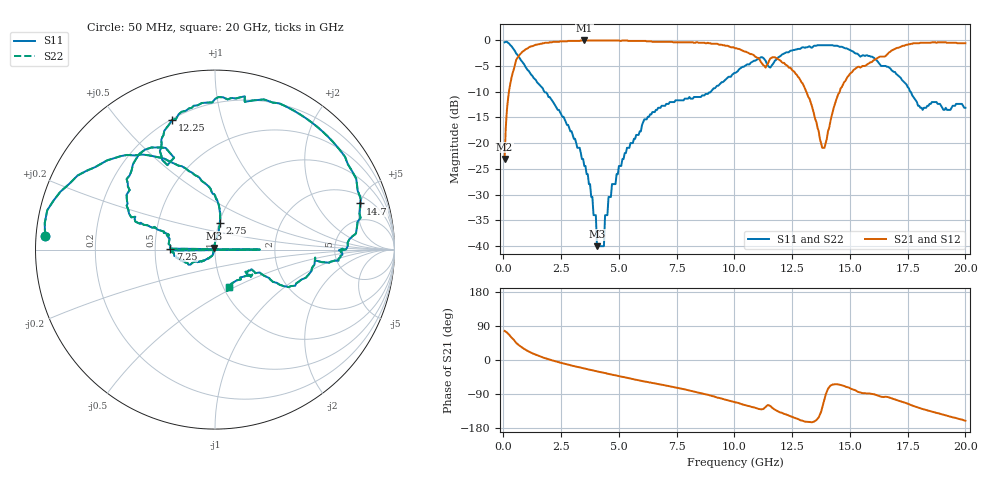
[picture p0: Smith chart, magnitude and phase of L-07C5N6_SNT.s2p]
#	mhz	s	ma	r	50
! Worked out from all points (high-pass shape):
!   400 points, 50 MHz to 20 GHz, reference 50 ohm
!   highest |S21| = -0.09 dB at 3.5 GHz (marker M1); lowest = -23.1 dB at 50 MHz (marker M2)
!   |S21| within 3 dB of the highest: 668.4 MHz to 10.87 GHz (10.2 GHz wide, 177 % of centre); 16.55 GHz to end of sweep
!   lowest |S11| = -40.0 dB at 4.05 GHz (marker M3), VSWR 1.02, Z = 49.5 + j0.839 ohm
!   |S11| at or under -10 dB: 1.769 GHz to 8.981 GHz (7.213 GHz wide, 134 % of centre); 17.62 GHz to end of sweep
!   |S22| runs from -40.0 to -0.4 dB; largest |S21 - S12| = 0
!   S11 on the Smith chart (normalised r, x): 50 MHz: 0.03, +0.04; 2.75 GHz: 1.01, +0.30; 7.25 GHz: 0.60, +0.01; 12.25 GHz: 0.21, +0.70; 14.7 GHz: 2.72, +5.04; 20 GHz: 1.06, -0.46
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50  0.95 175.4  0.07 76.7  0.07 76.7  0.95 175.4
200  0.94 163.1  0.27 69.7  0.27 69.7  0.94 163.1
550  0.74 135.3  0.64 45.1  0.64 45.1  0.74 135.3
2750  0.15 79.9  0.97 -11.4  0.97 -11.4  0.15 79.9
3400  0.07 80.3  0.99 -21.2  0.99 -21.2  0.07 80.3
3500  0.06 81.9  0.99 -22.5  0.99 -22.5  0.06 81.9
4050  0.01 122.0  0.99 -30.0  0.99 -30.0  0.01 122.0
4350  0.01 -127.3  0.99 -33.7  0.99 -33.7  0.01 -127.3
4400  0.02 -121.1  0.99 -34.4  0.99 -34.4  0.02 -121.1
5000  0.06 -125.1  0.99 -42.6  0.99 -42.6  0.06 -125.1
6700  0.22 -168.0  0.96 -63.5  0.96 -63.5  0.22 -168.0
7150  0.24 -178.8  0.96 -68.6  0.96 -68.6  0.24 -178.8
7200  0.25 0.0  0.96 -69.3  0.96 -69.3  0.25 0.0
7250  0.25 178.8  0.96 -70.0  0.96 -70.0  0.25 178.8
10050  0.48 157.6  0.83 -112.0  0.83 -112.0  0.48 157.6
12250  0.76 108.4  0.57 -143.9  0.57 -143.9  0.76 108.4
13350  0.84 78.6  0.23 -164.4  0.23 -164.4  0.84 78.6
13900  0.89 52.7  0.09 -103.3  0.09 -103.3  0.89 52.7
14700  0.85 17.6  0.37 -67.6  0.37 -67.6  0.85 17.6
16700  0.54 -14.9  0.76 -98.9  0.76 -98.9  0.54 -14.9
18150  0.21 -36.1  0.94 -129.4  0.94 -129.4  0.21 -36.1
20000  0.22 -69.4  0.93 -160.3  0.93 -160.3  0.22 -69.4
